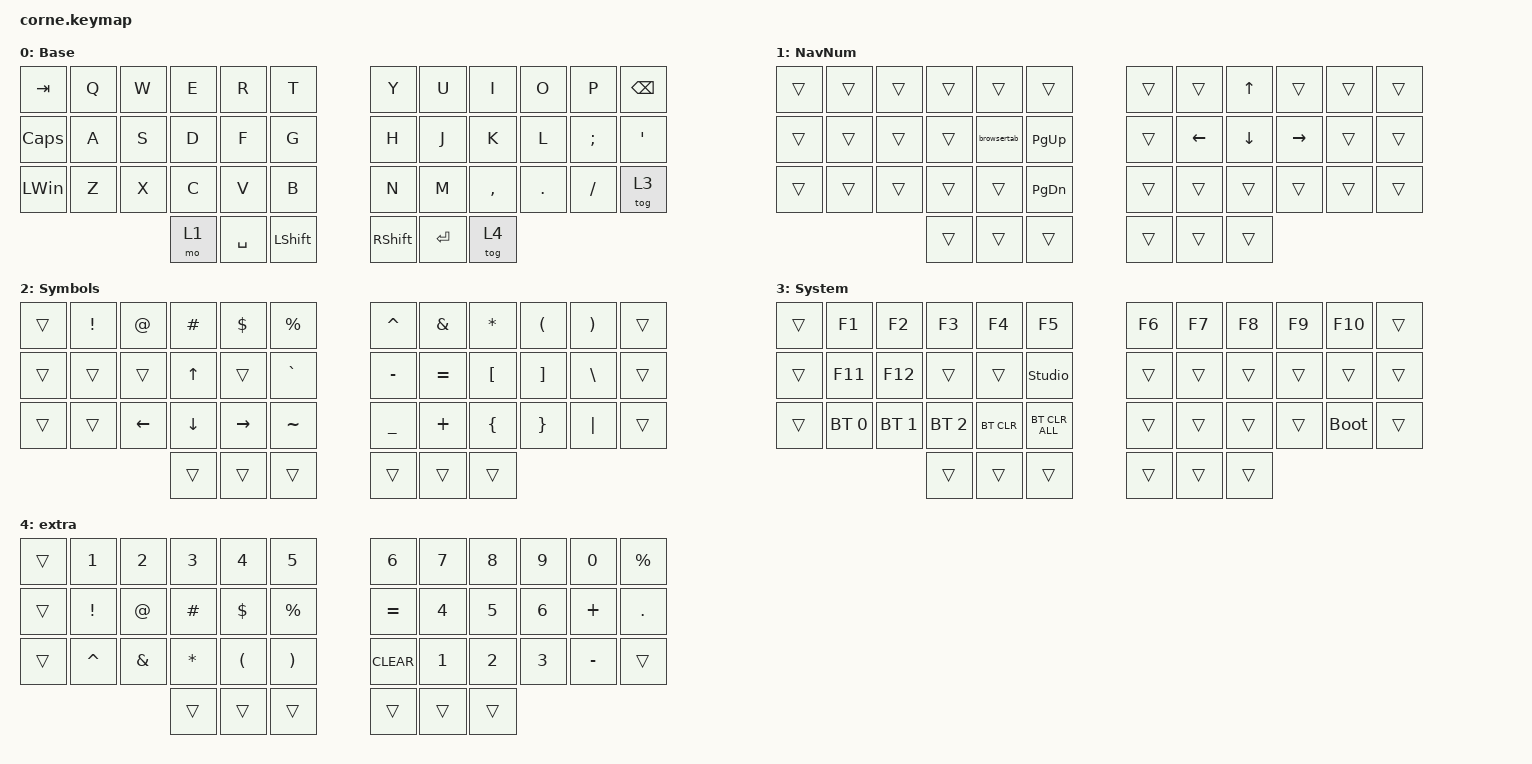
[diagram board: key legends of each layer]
#include <behaviors.dtsi>
#include <dt-bindings/zmk/bt.h>
#include <dt-bindings/zmk/keys.h>

#define DEF 0
#define NAV 1
#define SYM 2
#define ADJ 3
#define EXTRA 4

/ {
    behaviors {
        hm: homerow_mods {
            compatible = "zmk,behavior-hold-tap";
            label = "HOMEROW_MODS";
            #binding-cells = <2>;
            tapping-term-ms = <200>;
            quick_tap_ms = <0>;
            flavor = "tap-preferred";
            bindings = <&kp>, <&kp>;

            quick-tap-ms = <180>;
            global-quick-tap;
        };

        para: para {
            compatible = "zmk,behavior-tap-dance";
            label = "PARA";
            #binding-cells = <0>;
            bindings = <&kp LEFT_PARENTHESIS>, <&kp RIGHT_PARENTHESIS>;
        };

        caps: caps {
            compatible = "zmk,behavior-caps-word";
            label = "CAPS";
            #binding-cells = <0>;
            continue-list = <MINUS BACKSPACE>;
        };

        paraless: paraless {
            compatible = "zmk,behavior-mod-morph";
            label = "PARALESS";
            bindings = <&kp LEFT_PARENTHESIS>, <&kp LESS_THAN>;

            #binding-cells = <0>;
            mods = <(MOD_LSFT)>;
        };

        paragreat: paragreat {
            compatible = "zmk,behavior-mod-morph";
            label = "PARAGREAT";
            bindings = <&kp RIGHT_PARENTHESIS>, <&kp GREATER_THAN>;

            #binding-cells = <0>;
            mods = <(MOD_LSFT)>;
        };
    };

    macros {
        browsertab: browsertab {
            compatible = "zmk,behavior-macro";
            #binding-cells = <0>;
            bindings =
                <&macro_press>,
                <&kp LCTRL>,
                <&macro_tap>,
                <&kp TAB>,
                <&macro_release>,
                <&kp LCTRL>;
        };

        screencap: screencap {
            compatible = "zmk,behavior-macro";
            #binding-cells = <0>;
            bindings =
                <&macro_press>,
                <&kp LEFT_WIN &kp LEFT_SHIFT &kp S>,
                <&macro_release>,
                <&kp LEFT_WIN &kp LEFT_SHIFT &kp S>;

            label = "SCREENCAP";
        };
    };

    combos {
        compatible = "zmk,combos";

        escape {
            bindings = <&kp ESCAPE>;
            key-positions = <0 1 2>;
        };

        delete {
            bindings = <&kp DELETE>;
            key-positions = <15 21>;
        };

        perc {
            bindings = <&kp PERCENT>;
            key-positions = <5 4>;
        };

        equal {
            bindings = <&kp EQUAL>;
            key-positions = <16 17>;
        };

        dollar {
            bindings = <&kp DOLLAR>;
            key-positions = <4 3>;
        };

        pound {
            bindings = <&kp POUND>;
            key-positions = <2 3>;
        };

        at {
            bindings = <&kp AT>;
            key-positions = <0 1>;
        };

        backslash {
            bindings = <&kp BACKSLASH>;
            key-positions = <21 34>;
        };

        copy {
            bindings = <&kp LC(C)>;
            key-positions = <27 26>;
        };

        paste {
            bindings = <&kp LC(V)>;
            key-positions = <27 28>;
        };

        star {
            bindings = <&kp STAR>;
            key-positions = <10 11>;
        };

        plus {
            bindings = <&kp PLUS>;
            key-positions = <8 9>;
        };

        minus {
            bindings = <&kp KP_MINUS>;
            key-positions = <7 8>;
        };

        underscore {
            bindings = <&kp UNDER>;
            key-positions = <6 7>;
        };

        leftbrack {
            bindings = <&kp LEFT_BRACKET>;
            key-positions = <31 32>;
        };

        rightbrack {
            bindings = <&kp RIGHT_BRACKET>;
            key-positions = <33 32>;
        };

        para-less {
            bindings = <&paraless>;
            key-positions = <21 22>;
        };

        para-great {
            bindings = <&paragreat>;
            key-positions = <20 21>;
        };

        backspace {
            bindings = <&kp BACKSPACE>;
            key-positions = <19 20>;
        };

        screencap {
            bindings = <&screencap>;
            key-positions = <13 14 15 16>;
        };
    };

    //

    keymap {
        compatible = "zmk,keymap";

        DEF {
            display-name = "Base";

            // -----------------------------------------------------------------------------------------
            // |  Q  |  W  |  E  |  R  |  T  |   |  Y  |  U   |  I  |  O  |  P  |
            // |  A  |  S  |  D  |  F  |  G  |   |  H  |  J   |  K  |  L  |  ;  |
            // |  Z  |  X  |  C  |  V  |  B  |   |  N  |  M   |  ,  |  .  |  /  |
            // | GUI | CTRL | SHFT | LWR | SPC |   | ENT | RSE  | BKSP | ALT | ESC |

            bindings = <
&kp TAB       &kp Q  &kp W  &kp E  &kp R      &kp T             &kp Y            &kp U      &kp I      &kp O    &kp P     &kp BACKSPACE
&kp CLCK      &kp A  &kp S  &kp D  &kp F      &kp G             &kp H            &kp J      &kp K      &kp L    &kp SEMI  &kp SQT
&kp LEFT_WIN  &kp Z  &kp X  &kp C  &kp V      &kp B             &kp N            &kp M      &kp COMMA  &kp DOT  &kp FSLH  &tog 3
                            &mo 1  &kp SPACE  &kp LEFT_SHIFT    &kp RIGHT_SHIFT  &kp ENTER  &tog 4
            >;
        };

        NAV {
            display-name = "NavNum";

            // -----------------------------------------------------------------------------------------
            // |  TAB |  1  |  2  |  3  |  4  |  5  |   |  6  |  7  |  8  |  9  |  0  | BKSP |
            // | BTCLR| BT1 | BT2 | BT3 | BT4 | BT5 |   | LFT | DWN |  UP | RGT |     |      |
            // | SHFT |     |     |     |     |     |   |     |     |     |     |     |      |
            // | GUI | CTRL | SHFT | LWR | SPC |   | ENT | RSE  | BKSP | ALT | ESC |

            bindings = <
&trans  &trans  &trans  &trans  &trans       &trans           &trans  &trans          &kp UP    &trans     &trans  &trans
&trans  &trans  &trans  &trans  &browsertab  &kp PAGE_UP      &trans  &kp LEFT_ARROW  &kp DOWN  &kp RIGHT  &trans  &trans
&trans  &trans  &trans  &trans  &trans       &kp PAGE_DOWN    &trans  &trans          &trans    &trans     &trans  &trans
                        &trans  &trans       &trans           &trans  &trans          &trans
            >;
        };

        SYM {
            display-name = "Symbols";

            // -----------------------------------------------------------------------------------------
            // |  TAB |  !  |  @  |  #  |  $  |  %  |   |  ^  |  &  |  *  |  (  |  )  | BKSP |
            // | CTRL |     |     |     |     |     |   |  -  |  =  |  [  |  ]  |  \  |  `   |
            // | SHFT |     |     |     |     |     |   |  _  |  +  |  {  |  }  | "|" |  ~   |
            //                    | GUI |     | SPC |   | ENT |     | ALT |

            bindings = <
&trans  &kp EXCL  &kp AT          &kp HASH        &kp DLLR         &kp PRCNT    &kp CARET  &kp AMPS   &kp ASTRK  &kp LEFT_PARENTHESIS  &kp RPAR  &trans
&trans  &trans    &trans          &kp UP_ARROW    &trans           &kp GRAVE    &kp MINUS  &kp EQUAL  &kp LBKT   &kp RBKT              &kp BSLH  &trans
&trans  &trans    &kp LEFT_ARROW  &kp DOWN_ARROW  &kp RIGHT_ARROW  &kp TILDE    &kp UNDER  &kp PLUS   &kp LBRC   &kp RBRC              &kp PIPE  &trans
                                  &trans          &trans           &trans       &trans     &trans     &trans
            >;
        };

        ADJ {
            display-name = "System";
            bindings = <
&trans  &kp F1        &kp F2        &kp F3        &kp F4      &kp F5            &kp F6  &kp F7  &kp F8  &kp F9  &kp F10      &trans
&trans  &kp F11       &kp F12       &trans        &trans      &studio_unlock    &trans  &trans  &trans  &trans  &trans       &trans
&trans  &bt BT_SEL 0  &bt BT_SEL 1  &bt BT_SEL 2  &bt BT_CLR  &bt BT_CLR_ALL    &trans  &trans  &trans  &trans  &bootloader  &trans
                                    &trans        &trans      &trans            &trans  &trans  &trans
            >;
        };

        EXTRA {
            display-name = "extra";
            bindings = <
&trans  &kp NUMBER_1  &kp NUMBER_2   &kp NUMBER_3  &kp NUMBER_4          &kp NUMBER_5             &kp NUMBER_6  &kp N7        &kp N8        &kp N9        &kp NUMBER_0  &kp PERCENT
&trans  &kp EXCL      &kp AT         &kp HASH      &kp DOLLAR            &kp PERCENT              &kp EQUAL     &kp NUMBER_4  &kp N5        &kp NUMBER_6  &kp PLUS      &kp PERIOD
&trans  &kp CARET     &kp AMPERSAND  &kp ASTRK     &kp LEFT_PARENTHESIS  &kp RIGHT_PARENTHESIS    &kp CLEAR     &kp NUMBER_1  &kp NUMBER_2  &kp N3        &kp MINUS     &trans
                                     &trans        &trans                &trans                   &trans        &trans        &trans
            >;
        };
    };

    conditional_layers { compatible = "zmk,conditional-layers"; };
};
